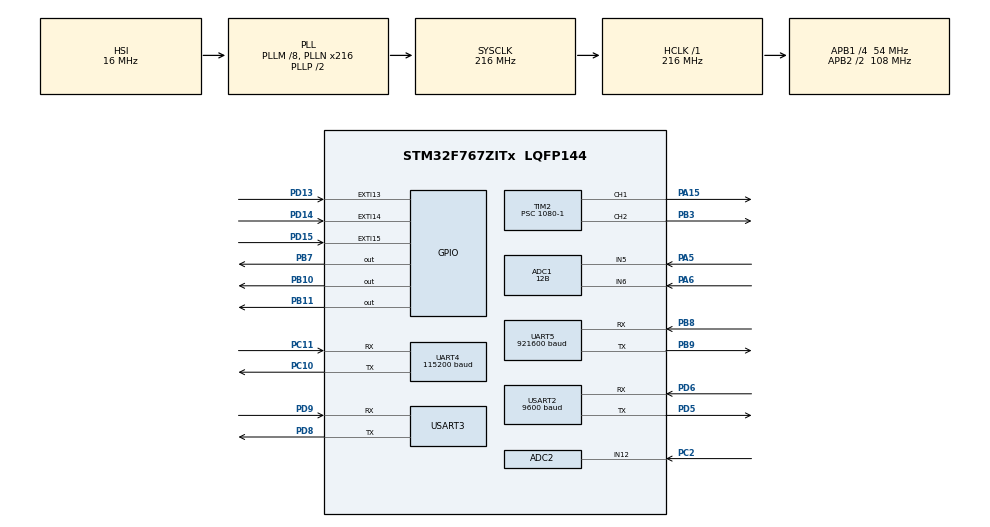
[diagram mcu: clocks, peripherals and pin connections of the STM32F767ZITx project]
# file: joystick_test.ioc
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ADC1.Channel-0\#ChannelRegularConversion=ADC_CHANNEL_5
ADC1.Channel-1\#ChannelRegularConversion=ADC_CHANNEL_6
ADC1.ClockPrescaler=ADC_CLOCK_SYNC_PCLK_DIV4
ADC1.ContinuousConvMode=ENABLE
ADC1.DMAContinuousRequests=ENABLE
ADC1.EOCSelection=ADC_EOC_SEQ_CONV
ADC1.InjNumberOfConversion=0
ADC1.NbrOfConversion=2
ADC1.NbrOfConversionFlag=1
ADC1.Rank-0\#ChannelRegularConversion=1
ADC1.Rank-1\#ChannelRegularConversion=2
ADC1.Resolution=ADC_RESOLUTION_12B
ADC1.SamplingTime-0\#ChannelRegularConversion=ADC_SAMPLETIME_480CYCLES
ADC1.SamplingTime-1\#ChannelRegularConversion=ADC_SAMPLETIME_480CYCLES
ADC1.ScanConvMode=ADC_SCAN_ENABLE
ADC1.master=1
ADC2.Channel-0\#ChannelRegularConversion=ADC_CHANNEL_12
ADC2.ContinuousConvMode=ENABLE
ADC2.EOCSelection=ADC_EOC_SEQ_CONV
ADC2.NbrOfConversionFlag=1
ADC2.Rank-0\#ChannelRegularConversion=1
ADC2.SamplingTime-0\#ChannelRegularConversion=ADC_SAMPLETIME_480CYCLES
Dma.ADC1.0.Direction=DMA_PERIPH_TO_MEMORY
Dma.ADC1.0.FIFOMode=DMA_FIFOMODE_ENABLE
Dma.ADC1.0.FIFOThreshold=DMA_FIFO_THRESHOLD_HALFFULL
Dma.ADC1.0.Instance=DMA2_Stream0
Dma.ADC1.0.MemBurst=DMA_MBURST_SINGLE
Dma.ADC1.0.MemDataAlignment=DMA_MDATAALIGN_WORD
Dma.ADC1.0.MemInc=DMA_MINC_ENABLE
Dma.ADC1.0.Mode=DMA_CIRCULAR
Dma.ADC1.0.PeriphBurst=DMA_PBURST_SINGLE
Dma.ADC1.0.PeriphDataAlignment=DMA_PDATAALIGN_WORD
Dma.ADC1.0.PeriphInc=DMA_PINC_DISABLE
Dma.ADC1.0.Priority=DMA_PRIORITY_LOW
Dma.Request0=ADC1
Mcu.Family=STM32F7
Mcu.Name=STM32F767ZITx
Mcu.Package=LQFP144
NVIC.ADC_IRQn=true\:0\:0\:false\:false\:true\:true\:true\:true
NVIC.DMA2_Stream0_IRQn=true\:1\:0\:true\:false\:true\:false\:true\:true
NVIC.EXTI15_10_IRQn=true\:1\:0\:true\:false\:true\:true\:true\:true
NVIC.PriorityGroup=NVIC_PRIORITYGROUP_1
NVIC.TIM2_IRQn=true\:0\:0\:false\:false\:true\:true\:true\:true
PA13.Mode=Serial_Wire
PA13.Signal=SYS_JTMS-SWDIO
PA14.Mode=Serial_Wire
PA14.Signal=SYS_JTCK-SWCLK
PA15.GPIO_Speed=GPIO_SPEED_FREQ_VERY_HIGH
PA15.Signal=S_TIM2_CH1_ETR
PA5.Signal=ADCx_IN5
PA6.Signal=ADCx_IN6
PB10.Signal=GPIO_Output
PB11.Signal=GPIO_Output
PB3.Signal=S_TIM2_CH2
PB7.Signal=GPIO_Output
PB8.Mode=Asynchronous
PB8.Signal=UART5_RX
PB9.Mode=Asynchronous
PB9.Signal=UART5_TX
PC0.Signal=ADCx_IN10
PC10.Mode=Asynchronous
PC10.Signal=UART4_TX
PC11.Mode=Asynchronous
PC11.Signal=UART4_RX
PC2.Signal=ADCx_IN12
PD13.Signal=GPXTI13
PD14.Signal=GPXTI14
PD15.Signal=GPXTI15
PD5.Mode=Asynchronous
PD5.Signal=USART2_TX
PD6.Mode=Asynchronous
PD6.Signal=USART2_RX
PD8.Mode=Asynchronous
PD8.Signal=USART3_TX
PD9.Mode=Asynchronous
PD9.Signal=USART3_RX
PH0/OSC_IN.Mode=HSE-External-Oscillator
PH0/OSC_IN.Signal=RCC_OSC_IN
PH1/OSC_OUT.Mode=HSE-External-Oscillator
PH1/OSC_OUT.Signal=RCC_OSC_OUT
ProjectManager.HeapSize=0x200
ProjectManager.StackSize=0x400
ProjectManager.TargetToolchain=STM32CubeIDE
RCC.AHBFreq_Value=216000000
RCC.APB1CLKDivider=RCC_HCLK_DIV4
RCC.APB1Freq_Value=54000000
RCC.APB1TimFreq_Value=108000000
RCC.APB2CLKDivider=RCC_HCLK_DIV2
RCC.APB2Freq_Value=108000000
RCC.APB2TimFreq_Value=216000000
RCC.CortexFreq_Value=216000000
RCC.HCLKFreq_Value=216000000
RCC.HSE_VALUE=25000000
RCC.HSI_VALUE=16000000
RCC.LSE_VALUE=32768
RCC.PLLM=8
RCC.PLLN=216
RCC.SYSCLKFreq_VALUE=216000000
RCC.SYSCLKSource=RCC_SYSCLKSOURCE_PLLCLK
RCC.USBFreq_Value=216000000
RCC.VCOOutputFreq_Value=432000000
SH.ADCx_IN10.0=ADC1_IN10
SH.ADCx_IN12.0=ADC2_IN12,IN12
SH.ADCx_IN5.0=ADC1_IN5,IN5
SH.ADCx_IN6.0=ADC1_IN6,IN6
SH.S_TIM2_CH1_ETR.0=TIM2_CH1,PWM Generation1 CH1
SH.S_TIM2_CH2.0=TIM2_CH2,PWM Generation2 CH2
TIM2.Channel-PWM\ Generation1\ CH1=TIM_CHANNEL_1
TIM2.Channel-PWM\ Generation2\ CH2=TIM_CHANNEL_2
TIM2.Period=1000-1
TIM2.Prescaler=1080-1
TIM2.Pulse-PWM\ Generation1\ CH1=10000/4-1
UART4.BaudRate=115200
UART4.MSBFirstParam=UART_ADVFEATURE_MSBFIRST_DISABLE
UART4.OverrunDisableParam=UART_ADVFEATURE_OVERRUN_DISABLE
UART4.WordLength=WORDLENGTH_8B
UART5.BaudRate=921600
USART2.AutoBaudRateEnableParam=UART_ADVFEATURE_AUTOBAUDRATE_DISABLE
USART2.BaudRate=9600
USART2.VirtualMode-Asynchronous=VM_ASYNC
USART3.VirtualMode-Asynchronous=VM_ASYNC
VP_TIM2_VS_ClockSourceINT.Mode=Internal
board=custom

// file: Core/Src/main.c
/* USER CODE BEGIN Header */
/**
 ******************************************************************************
 * @file           : main.c
 * @brief          : Main program body
 ******************************************************************************
 * @attention
 *
 * Copyright (c) 2023 STMicroelectronics.
 * All rights reserved.
 *
 * This software is licensed under terms that can be found in the LICENSE file
 * in the root directory of this software component.
 * If no LICENSE file comes with this software, it is provided AS-IS.
 *
 ******************************************************************************
 */
/* USER CODE END Header */
#include "main.h"
#include "adc.h"
#include "dma.h"
#include "tim.h"
#include "usart.h"
#include "gpio.h"

/* USER CODE BEGIN Includes */
#include "string.h"
#include "stdio.h"
/* USER CODE END Includes */

/* USER CODE BEGIN PV */
uint32_t VR[2];
uint32_t x_axis;
uint32_t y_axis;

float pwm_x;
float pwm_y;

char buff[3];
char buff1[3];

/* USER CODE END PV */

void SystemClock_Config(void);

int main(void)
{

  /* MCU Configuration--------------------------------------------------------*/

  /* Reset of all peripherals, Initializes the Flash interface and the Systick. */
  HAL_Init();

  /* Configure the system clock */
  SystemClock_Config();

  /* Initialize all configured peripherals */
  MX_GPIO_Init();
  MX_DMA_Init();
  MX_ADC1_Init();
  MX_ADC2_Init();
  MX_USART2_UART_Init();
  MX_TIM2_Init();
  MX_UART4_Init();
  MX_USART3_UART_Init();
  MX_UART5_Init();
  /* USER CODE BEGIN 2 */
	HAL_ADC_Start_DMA(&hadc1, (uint32_t*) VR, 2);
	HAL_TIM_PWM_Start(&htim2, TIM_CHANNEL_1);
	HAL_TIM_PWM_Start(&htim2, TIM_CHANNEL_2);
  /* USER CODE END 2 */

  /* Infinite loop */
  /* USER CODE BEGIN WHILE */
	while (1) {
		x_axis = VR[0];
		y_axis = VR[1];
		if (x_axis >= 3200) {
			sprintf(buff, "%c", 'D');
			pwm_x = x_axis  / 3;

			while (__HAL_UART_GET_FLAG(&huart3, UART_FLAG_TC) == RESET) {
			}

			HAL_UART_Transmit(&huart3, (uint8_t*) buff, strlen(buff), 1000);
			HAL_UART_Transmit(&huart5, (uint8_t*) "D", 1, 1000);
			//HAL_GPIO_WritePin(GPIOB, GPIO_PIN_8, GPIO_PIN_RESET);
			//HAL_GPIO_WritePin(GPIOB, GPIO_PIN_9, GPIO_PIN_SET);
		}

		if (x_axis < 2000) {
			sprintf(buff, "%c", 'A');
			while (__HAL_UART_GET_FLAG(&huart3, UART_FLAG_TC) == RESET) {
			}

			HAL_UART_Transmit(&huart3, (uint8_t*) buff, strlen(buff), 1000);
			HAL_UART_Transmit(&huart5, (uint8_t*) "A", 1, 1000);
			pwm_x = (4000 - x_axis) / 3;
			//HAL_GPIO_WritePin(GPIOB, GPIO_PIN_8, GPIO_PIN_SET);
			//HAL_GPIO_WritePin(GPIOB, GPIO_PIN_9, GPIO_PIN_RESET);
		}

		if (y_axis >= 3200) {

			sprintf(buff1, "%c", 'S');

			while (__HAL_UART_GET_FLAG(&huart3, UART_FLAG_TC) == RESET) {
			}
			//sprintf(buff, "%d\r\n", y_axis);
			HAL_UART_Transmit(&huart3, (uint8_t*) buff1, strlen(buff1), 1000);
			HAL_UART_Transmit(&huart5, (uint8_t*) "S", 1, 1000);
			pwm_y = y_axis  / 3;
			HAL_GPIO_WritePin(GPIOB, GPIO_PIN_10, GPIO_PIN_SET);
			HAL_GPIO_WritePin(GPIOB, GPIO_PIN_11, GPIO_PIN_RESET);
		}

		if (y_axis < 2700) {
			sprintf(buff1, "%c", 'W');
			while (__HAL_UART_GET_FLAG(&huart3, UART_FLAG_TC) == RESET) {
			}
			//sprintf(buff, "%d\r\n", y_axis);
			HAL_UART_Transmit(&huart3, (uint8_t*) buff1, strlen(buff1), 1000);
			HAL_UART_Transmit(&huart5, (uint8_t*) "W", 1, 1000);
			pwm_y =  (4000 - y_axis) / 3;
			HAL_GPIO_WritePin(GPIOB, GPIO_PIN_10, GPIO_PIN_RESET);
			HAL_GPIO_WritePin(GPIOB, GPIO_PIN_11, GPIO_PIN_SET);
		}

		//htim2.Instance->CCR1 = (1000 - 1) * pwm_x;
		//htim2.Instance->CCR2 = (1000 - 1) * pwm_y;

		//HAL_TIM_PWM_Start(&htim2, TIM_CHANNEL_1);
		//HAL_TIM_PWM_Start(&htim2, TIM_CHANNEL_2);
		//HAL_Delay(100);

		__HAL_TIM_SET_COMPARE(&htim2, TIM_CHANNEL_1, pwm_x);
		__HAL_TIM_SET_COMPARE(&htim2, TIM_CHANNEL_2, pwm_y);

    /* USER CODE END WHILE */

	}
}

void SystemClock_Config(void)
{
  RCC_OscInitTypeDef RCC_OscInitStruct = {0};
  RCC_ClkInitTypeDef RCC_ClkInitStruct = {0};

  /** Configure the main internal regulator output voltage
  */
  __HAL_RCC_PWR_CLK_ENABLE();
  __HAL_PWR_VOLTAGESCALING_CONFIG(PWR_REGULATOR_VOLTAGE_SCALE1);

  /** Initializes the RCC Oscillators according to the specified parameters
  * in the RCC_OscInitTypeDef structure.
  */
  RCC_OscInitStruct.OscillatorType = RCC_OSCILLATORTYPE_HSI;
  RCC_OscInitStruct.HSIState = RCC_HSI_ON;
  RCC_OscInitStruct.HSICalibrationValue = RCC_HSICALIBRATION_DEFAULT;
  RCC_OscInitStruct.PLL.PLLState = RCC_PLL_ON;
  RCC_OscInitStruct.PLL.PLLSource = RCC_PLLSOURCE_HSI;
  RCC_OscInitStruct.PLL.PLLM = 8;
  RCC_OscInitStruct.PLL.PLLN = 216;
  RCC_OscInitStruct.PLL.PLLP = RCC_PLLP_DIV2;
  RCC_OscInitStruct.PLL.PLLQ = 2;
  RCC_OscInitStruct.PLL.PLLR = 2;
  if (HAL_RCC_OscConfig(&RCC_OscInitStruct) != HAL_OK)
  {
    Error_Handler();
  }

  /** Activate the Over-Drive mode
  */
  if (HAL_PWREx_EnableOverDrive() != HAL_OK)
  {
    Error_Handler();
  }

  /** Initializes the CPU, AHB and APB buses clocks
  */
  RCC_ClkInitStruct.ClockType = RCC_CLOCKTYPE_HCLK|RCC_CLOCKTYPE_SYSCLK
                              |RCC_CLOCKTYPE_PCLK1|RCC_CLOCKTYPE_PCLK2;
  RCC_ClkInitStruct.SYSCLKSource = RCC_SYSCLKSOURCE_PLLCLK;
  RCC_ClkInitStruct.AHBCLKDivider = RCC_SYSCLK_DIV1;
  RCC_ClkInitStruct.APB1CLKDivider = RCC_HCLK_DIV4;
  RCC_ClkInitStruct.APB2CLKDivider = RCC_HCLK_DIV2;

  if (HAL_RCC_ClockConfig(&RCC_ClkInitStruct, FLASH_LATENCY_7) != HAL_OK)
  {
    Error_Handler();
  }
}

/* USER CODE BEGIN 4 */
void HAL_GPIO_EXTI_Callback(uint16_t GPIO_Pin){

	if(GPIO_Pin == GPIO_PIN_13)
	{
		HAL_UART_Transmit(&huart3,(uint8_t *)"---",3,100);
		HAL_Delay(400);

		for(int i=0;i<20;i++)
		{
			HAL_UART_Transmit(&huart3,(uint8_t *)"B",1,100);
			HAL_UART_Transmit(&huart5,(uint8_t *)"S",1,100);
			HAL_Delay(400);
		}

}
	else if(GPIO_Pin == GPIO_PIN_15)
		{
			HAL_UART_Transmit(&huart3,(uint8_t *)"---",3,100);
			HAL_Delay(400);

			for(int i=0;i<20;i++)
			{
				HAL_UART_Transmit(&huart3,(uint8_t *)"E",1,100);
				HAL_UART_Transmit(&huart5,(uint8_t *)"S",1,100);
				HAL_Delay(400);

			}

	}
}
/* USER CODE END 4 */

void Error_Handler(void)
{
	__disable_irq();
	while (1) {
	}
}
